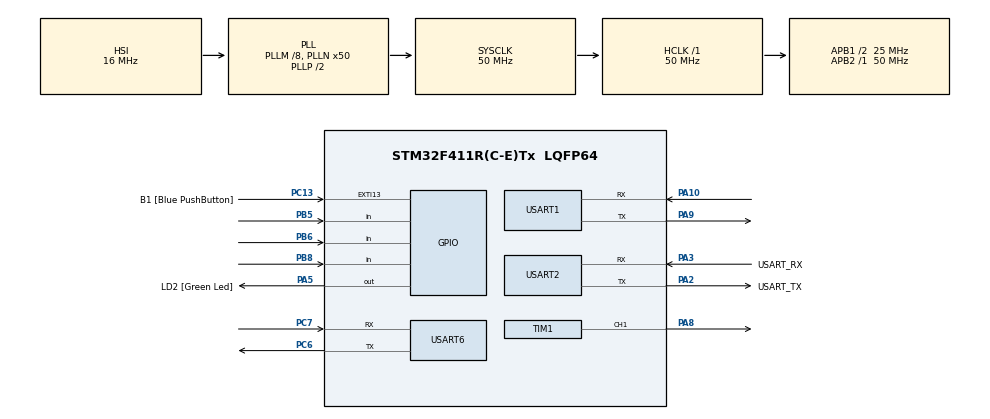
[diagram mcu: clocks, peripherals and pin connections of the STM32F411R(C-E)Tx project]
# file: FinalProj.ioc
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FREERTOS.Tasks01=defaultTask,15,128,StartDefaultTask,Default,NULL,Dynamic,NULL,NULL;myTask02,47,128,StartTask02,Default,NULL,Dynamic,NULL,NULL;myTask03,39,128,StartTask03,Default,NULL,Dynamic,NULL,NULL;myTask04,46,128,StartTask04,Default,NULL,Dynamic,NULL,NULL
Mcu.Family=STM32F4
Mcu.Name=STM32F411R(C-E)Tx
Mcu.Package=LQFP64
NVIC.PriorityGroup=NVIC_PRIORITYGROUP_4
NVIC.USART1_IRQn=true\:5\:0\:false\:false\:true\:true\:true\:true\:true
NVIC.USART6_IRQn=true\:5\:0\:false\:false\:true\:true\:true\:true\:true
PA10.Mode=Asynchronous
PA10.Signal=USART1_RX
PA13.GPIO_Label=TMS
PA13.Mode=Serial_Wire
PA13.Signal=SYS_JTMS-SWDIO
PA14.GPIO_Label=TCK
PA14.Mode=Serial_Wire
PA14.Signal=SYS_JTCK-SWCLK
PA2.GPIO_Label=USART_TX
PA2.Mode=Asynchronous
PA2.Signal=USART2_TX
PA3.GPIO_Label=USART_RX
PA3.Mode=Asynchronous
PA3.Signal=USART2_RX
PA5.GPIO_Label=LD2 [Green Led]
PA5.Signal=GPIO_Output
PA8.Signal=S_TIM1_CH1
PA9.Mode=Asynchronous
PA9.Signal=USART1_TX
PB3.GPIO_Label=SWO
PB3.Signal=SYS_JTDO-SWO
PB5.GPIO_PuPd=GPIO_PULLDOWN
PB5.Signal=GPIO_Input
PB6.Signal=GPIO_Input
PB8.Signal=GPIO_Input
PC13-ANTI_TAMP.GPIO_Label=B1 [Blue PushButton]
PC13-ANTI_TAMP.GPIO_ModeDefaultEXTI=GPIO_MODE_IT_FALLING
PC13-ANTI_TAMP.Signal=GPXTI13
PC14-OSC32_IN.Mode=LSE-External-Oscillator
PC14-OSC32_IN.Signal=RCC_OSC32_IN
PC15-OSC32_OUT.Mode=LSE-External-Oscillator
PC15-OSC32_OUT.Signal=RCC_OSC32_OUT
PC6.Mode=Asynchronous
PC6.Signal=USART6_TX
PC7.Mode=Asynchronous
PC7.Signal=USART6_RX
PH0\ -\ OSC_IN.Mode=HSE-External-Oscillator
PH0\ -\ OSC_IN.Signal=RCC_OSC_IN
PH1\ -\ OSC_OUT.Mode=HSE-External-Oscillator
PH1\ -\ OSC_OUT.Signal=RCC_OSC_OUT
ProjectManager.HeapSize=0x200
ProjectManager.StackSize=0x400
ProjectManager.TargetToolchain=STM32CubeIDE
RCC.48MHZClocksFreq_Value=25000000
RCC.AHBFreq_Value=50000000
RCC.APB1CLKDivider=RCC_HCLK_DIV2
RCC.APB1Freq_Value=25000000
RCC.APB1TimFreq_Value=50000000
RCC.APB2Freq_Value=50000000
RCC.APB2TimFreq_Value=50000000
RCC.CortexFreq_Value=50000000
RCC.FLatency-AdvancedSettings=FLASH_LATENCY_1
RCC.HCLKFreq_Value=50000000
RCC.HSE_VALUE=8000000
RCC.HSI_VALUE=16000000
RCC.PLLM=8
RCC.PLLN=50
RCC.SYSCLKFreq_VALUE=50000000
RCC.SYSCLKSource=RCC_SYSCLKSOURCE_PLLCLK
RCC.VCOOutputFreq_Value=100000000
SH.S_TIM1_CH1.0=TIM1_CH1,PWM Generation1 CH1
TIM1.Channel-PWM\ Generation1\ CH1=TIM_CHANNEL_1
TIM1.Period=99
TIM1.Prescaler=49
TIM3.Period=99
TIM3.Prescaler=49
USART1.VirtualMode=VM_ASYNC
USART2.VirtualMode=VM_ASYNC
USART6.VirtualMode=VM_ASYNC
VP_FREERTOS_VS_CMSIS_V2.Mode=CMSIS_V2
VP_TIM3_VS_ClockSourceINT.Mode=Internal
board=NUCLEO-F411RE

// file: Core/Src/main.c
/* USER CODE BEGIN Header */
/**
  ******************************************************************************
  * @file           : main.c
  * @brief          : Main program body
  ******************************************************************************
  * @attention
  *
  * Copyright (c) 2023 STMicroelectronics.
  * All rights reserved.
  *
  * This software is licensed under terms that can be found in the LICENSE file
  * in the root directory of this software component.
  * If no LICENSE file comes with this software, it is provided AS-IS.
  *
  ******************************************************************************
  */
/* USER CODE END Header */
#include "main.h"
#include "cmsis_os.h"

/* USER CODE BEGIN PD */
#define DHT22_PORT GPIOB
#define DHT22_PIN GPIO_PIN_8

#define HC_SRO4_PORT GPIOB
#define HC_SRO4_PIN GPIO_PIN_6

#define WF_PORT GPIOB
#define WF_PIN GPIO_PIN_5
/* USER CODE END PD */

TIM_HandleTypeDef htim1;
TIM_HandleTypeDef htim3;

UART_HandleTypeDef huart1;
UART_HandleTypeDef huart2;
UART_HandleTypeDef huart6;

/* Definitions for defaultTask */
osThreadId_t defaultTaskHandle;
const osThreadAttr_t defaultTask_attributes = {
  .name = "defaultTask",
  .stack_size = 128 * 4,
  .priority = (osPriority_t) osPriorityLow7,
};
/* Definitions for myTask02 */
osThreadId_t myTask02Handle;
const osThreadAttr_t myTask02_attributes = {
  .name = "myTask02",
  .stack_size = 128 * 4,
  .priority = (osPriority_t) osPriorityHigh7,
};
/* Definitions for myTask03 */
osThreadId_t myTask03Handle;
const osThreadAttr_t myTask03_attributes = {
  .name = "myTask03",
  .stack_size = 128 * 4,
  .priority = (osPriority_t) osPriorityAboveNormal7,
};
/* Definitions for myTask04 */
osThreadId_t myTask04Handle;
const osThreadAttr_t myTask04_attributes = {
  .name = "myTask04",
  .stack_size = 128 * 4,
  .priority = (osPriority_t) osPriorityHigh6,
};

void SystemClock_Config(void);
static void MX_GPIO_Init(void);
static void MX_USART2_UART_Init(void);
static void MX_TIM1_Init(void);
static void MX_TIM3_Init(void);
static void MX_USART1_UART_Init(void);
static void MX_USART6_UART_Init(void);
void StartDefaultTask(void *argument);
void StartTask02(void *argument);
void StartTask03(void *argument);
void StartTask04(void *argument);

/* USER CODE BEGIN 0 */

void HAL_UART_TxCpltCallback(UART_HandleTypeDef *huart){

}

void delay(uint16_t Delay){ // will delay = Delay * 1 micro second (Delay should not exceed 2^16 - 1)
    __HAL_TIM_SET_COUNTER(&htim3,0);  // set the counter value a 0
    while ((uint16_t)__HAL_TIM_GET_COUNTER(&htim3) < Delay);// wait for the counter to reach the us input in the parameter
}

uint8_t Rh_byte1, Rh_byte2, Temp_byte1, Temp_byte2, SUM;
uint16_t RH, TEMP;

float Temp = 0,Humi = 0;
uint8_t Presence = 0;

void Set_Pin_Output (GPIO_TypeDef *GPIOx, uint16_t GPIO_Pin){
	GPIO_InitTypeDef GPIO_InitStruct = {0};
	GPIO_InitStruct.Pin = GPIO_Pin;
	GPIO_InitStruct.Mode = GPIO_MODE_OUTPUT_PP;
	GPIO_InitStruct.Speed = GPIO_SPEED_FREQ_LOW;
	HAL_GPIO_Init(GPIOx, &GPIO_InitStruct);
}

void Set_Pin_Input (GPIO_TypeDef *GPIOx, uint16_t GPIO_Pin){
	GPIO_InitTypeDef GPIO_InitStruct = {0};
	GPIO_InitStruct.Pin = GPIO_Pin;
	GPIO_InitStruct.Mode = GPIO_MODE_INPUT;
	GPIO_InitStruct.Pull = GPIO_PULLUP;
	HAL_GPIO_Init(GPIOx, &GPIO_InitStruct);
}

void DHT22_Start (void)
{
	Set_Pin_Output(DHT22_PORT, DHT22_PIN); // set the pin as output
	HAL_GPIO_WritePin (DHT22_PORT, DHT22_PIN, 0);   // pull the pin low
	HAL_Delay(1200);   // wait for > 1ms

	HAL_GPIO_WritePin (DHT22_PORT, DHT22_PIN, 1);   // pull the pin high
	delay (20);   // wait for 30us
	HAL_GPIO_WritePin (DHT22_PORT, DHT22_PIN, 0);   // pull the pin high

	Set_Pin_Input(DHT22_PORT, DHT22_PIN);   // set as input
}
uint8_t DHT22_Check_Response (void)
{
	Set_Pin_Input(DHT22_PORT, DHT22_PIN);   // set as input
	uint8_t Response = 0;
	delay (40);  // wait for 40us
	if (!(HAL_GPIO_ReadPin (DHT22_PORT, DHT22_PIN))) // if the pin is low
	{
		delay (80);   // wait for 80us

		if ((HAL_GPIO_ReadPin (DHT22_PORT, DHT22_PIN))) Response = 1;  // if the pin is high, response is ok
		else Response = -1;
	}

	while ((HAL_GPIO_ReadPin (DHT22_PORT, DHT22_PIN)));// wait for the pin to go low
	return Response;
}
uint8_t DHT22_Read (void)
{
	uint8_t i=0,j;
	for (j=0;j<8;j++)
	{
		while (!(HAL_GPIO_ReadPin (DHT22_PORT, DHT22_PIN))){
			delay(1); // wait for the pin to go high
		}
		delay (40);   // wait for 40 us
		//HAL_GPIO_TogglePin(GPIOC, GPIO_PIN_9);
		if (!(HAL_GPIO_ReadPin (DHT22_PORT, DHT22_PIN)))   // if the pin is low
		{
			i&= ~(1<<(7-j));   // write 0
		}
		else i|= (1<<(7-j));  // if the pin is high, write 1
		while ((HAL_GPIO_ReadPin (DHT22_PORT, DHT22_PIN))){
			delay(1);  // wait for the pin to go low
		}
	}

	return i;
}

// delay
int mainUltra = 0;
int mainTemp = 0;
int mainfloat = 0;

int Delay_Array[3];
//

int u0=0;
int u1=0;
int u2=0;

int mainState;

int isTemp = 0;
int isFloat= 0;
int isUltra = 0;

int isTempTran = 0;
int isLevelTran = 0;

/* USER CODE END 0 */

int main(void)
{

  /* MCU Configuration--------------------------------------------------------*/

  /* Reset of all peripherals, Initializes the Flash interface and the Systick. */
  HAL_Init();

  /* Configure the system clock */
  SystemClock_Config();

  /* Initialize all configured peripherals */
  MX_GPIO_Init();
  MX_USART2_UART_Init();
  MX_TIM1_Init();
  MX_TIM3_Init();
  MX_USART1_UART_Init();
  MX_USART6_UART_Init();

  /* Init scheduler */
  osKernelInitialize();

  /* Create the thread(s) */
  /* creation of defaultTask */
  defaultTaskHandle = osThreadNew(StartDefaultTask, NULL, &defaultTask_attributes);

  /* creation of myTask02 */
  myTask02Handle = osThreadNew(StartTask02, NULL, &myTask02_attributes);

  /* creation of myTask03 */
  myTask03Handle = osThreadNew(StartTask03, NULL, &myTask03_attributes);

  /* creation of myTask04 */
  myTask04Handle = osThreadNew(StartTask04, NULL, &myTask04_attributes);

  /* Start scheduler */
  osKernelStart();
  /* We should never get here as control is now taken by the scheduler */
  /* Infinite loop */
  /* USER CODE BEGIN WHILE */
  while (1)
  {

//	  if(isUltra == 1) {
//		  uint8_t pData_main[7] = {' ',' ',' ',' ',' ',' ',' '};
//		  sprintf(pData_main, "%d\r\n", mainUltra);
//		  HAL_UART_Transmit_IT(&huart1, &pData_main, 7);
//
//	  }

	  /*if(isTemp == 1 && mainTemp != 0 && isUltra ==1) {
		uint8_t T_main[3];
		T_main[0] = '0' + mainTemp/100;
		T_main[1] = '0' + (mainTemp%100)/10;
		T_main[2] = '0' + (mainTemp%10);

		  uint8_t pData_main[7] = {' ',' ',' ',' ',' ',' ',' '};
		  sprintf(pData_main, "%d\r\n", mainUltra);
		  //HAL_UART_Transmit_IT(&huart1, &pData_main, 7);

		  uint8_t arr[10];
		  int id = 0;
		  for(int i=0; i<3; i++){
			  arr[id++] = T_main[i];
		  }
		  for(int i=0; i<8; i++){
			  arr[id++] = pData_main[i];
		  }

		  HAL_UART_Transmit_IT(&huart1, &arr, 10);
	  }*/

	 // uint8_t arr

    /* USER CODE END WHILE */

  }
}

void SystemClock_Config(void)
{
  RCC_OscInitTypeDef RCC_OscInitStruct = {0};
  RCC_ClkInitTypeDef RCC_ClkInitStruct = {0};

  /** Configure the main internal regulator output voltage
  */
  __HAL_RCC_PWR_CLK_ENABLE();
  __HAL_PWR_VOLTAGESCALING_CONFIG(PWR_REGULATOR_VOLTAGE_SCALE1);

  /** Initializes the RCC Oscillators according to the specified parameters
  * in the RCC_OscInitTypeDef structure.
  */
  RCC_OscInitStruct.OscillatorType = RCC_OSCILLATORTYPE_HSI;
  RCC_OscInitStruct.HSIState = RCC_HSI_ON;
  RCC_OscInitStruct.HSICalibrationValue = RCC_HSICALIBRATION_DEFAULT;
  RCC_OscInitStruct.PLL.PLLState = RCC_PLL_ON;
  RCC_OscInitStruct.PLL.PLLSource = RCC_PLLSOURCE_HSI;
  RCC_OscInitStruct.PLL.PLLM = 8;
  RCC_OscInitStruct.PLL.PLLN = 50;
  RCC_OscInitStruct.PLL.PLLP = RCC_PLLP_DIV2;
  RCC_OscInitStruct.PLL.PLLQ = 4;
  if (HAL_RCC_OscConfig(&RCC_OscInitStruct) != HAL_OK)
  {
    Error_Handler();
  }

  /** Initializes the CPU, AHB and APB buses clocks
  */
  RCC_ClkInitStruct.ClockType = RCC_CLOCKTYPE_HCLK|RCC_CLOCKTYPE_SYSCLK
                              |RCC_CLOCKTYPE_PCLK1|RCC_CLOCKTYPE_PCLK2;
  RCC_ClkInitStruct.SYSCLKSource = RCC_SYSCLKSOURCE_PLLCLK;
  RCC_ClkInitStruct.AHBCLKDivider = RCC_SYSCLK_DIV1;
  RCC_ClkInitStruct.APB1CLKDivider = RCC_HCLK_DIV2;
  RCC_ClkInitStruct.APB2CLKDivider = RCC_HCLK_DIV1;

  if (HAL_RCC_ClockConfig(&RCC_ClkInitStruct, FLASH_LATENCY_1) != HAL_OK)
  {
    Error_Handler();
  }
}

static void MX_TIM1_Init(void)
{

  TIM_MasterConfigTypeDef sMasterConfig = {0};
  TIM_OC_InitTypeDef sConfigOC = {0};
  TIM_BreakDeadTimeConfigTypeDef sBreakDeadTimeConfig = {0};

  htim1.Instance = TIM1;
  htim1.Init.Prescaler = 49;
  htim1.Init.CounterMode = TIM_COUNTERMODE_UP;
  htim1.Init.Period = 99;
  htim1.Init.ClockDivision = TIM_CLOCKDIVISION_DIV1;
  htim1.Init.RepetitionCounter = 0;
  htim1.Init.AutoReloadPreload = TIM_AUTORELOAD_PRELOAD_DISABLE;
  if (HAL_TIM_PWM_Init(&htim1) != HAL_OK)
  {
    Error_Handler();
  }
  sMasterConfig.MasterOutputTrigger = TIM_TRGO_RESET;
  sMasterConfig.MasterSlaveMode = TIM_MASTERSLAVEMODE_DISABLE;
  if (HAL_TIMEx_MasterConfigSynchronization(&htim1, &sMasterConfig) != HAL_OK)
  {
    Error_Handler();
  }
  sConfigOC.OCMode = TIM_OCMODE_PWM1;
  sConfigOC.Pulse = 0;
  sConfigOC.OCPolarity = TIM_OCPOLARITY_HIGH;
  sConfigOC.OCNPolarity = TIM_OCNPOLARITY_HIGH;
  sConfigOC.OCFastMode = TIM_OCFAST_DISABLE;
  sConfigOC.OCIdleState = TIM_OCIDLESTATE_RESET;
  sConfigOC.OCNIdleState = TIM_OCNIDLESTATE_RESET;
  if (HAL_TIM_PWM_ConfigChannel(&htim1, &sConfigOC, TIM_CHANNEL_1) != HAL_OK)
  {
    Error_Handler();
  }
  sBreakDeadTimeConfig.OffStateRunMode = TIM_OSSR_DISABLE;
  sBreakDeadTimeConfig.OffStateIDLEMode = TIM_OSSI_DISABLE;
  sBreakDeadTimeConfig.LockLevel = TIM_LOCKLEVEL_OFF;
  sBreakDeadTimeConfig.DeadTime = 0;
  sBreakDeadTimeConfig.BreakState = TIM_BREAK_DISABLE;
  sBreakDeadTimeConfig.BreakPolarity = TIM_BREAKPOLARITY_HIGH;
  sBreakDeadTimeConfig.AutomaticOutput = TIM_AUTOMATICOUTPUT_DISABLE;
  if (HAL_TIMEx_ConfigBreakDeadTime(&htim1, &sBreakDeadTimeConfig) != HAL_OK)
  {
    Error_Handler();
  }
  HAL_TIM_MspPostInit(&htim1);

}

static void MX_TIM3_Init(void)
{

  TIM_ClockConfigTypeDef sClockSourceConfig = {0};
  TIM_MasterConfigTypeDef sMasterConfig = {0};

  htim3.Instance = TIM3;
  htim3.Init.Prescaler = 49;
  htim3.Init.CounterMode = TIM_COUNTERMODE_UP;
  htim3.Init.Period = 99;
  htim3.Init.ClockDivision = TIM_CLOCKDIVISION_DIV1;
  htim3.Init.AutoReloadPreload = TIM_AUTORELOAD_PRELOAD_DISABLE;
  if (HAL_TIM_Base_Init(&htim3) != HAL_OK)
  {
    Error_Handler();
  }
  sClockSourceConfig.ClockSource = TIM_CLOCKSOURCE_INTERNAL;
  if (HAL_TIM_ConfigClockSource(&htim3, &sClockSourceConfig) != HAL_OK)
  {
    Error_Handler();
  }
  sMasterConfig.MasterOutputTrigger = TIM_TRGO_RESET;
  sMasterConfig.MasterSlaveMode = TIM_MASTERSLAVEMODE_DISABLE;
  if (HAL_TIMEx_MasterConfigSynchronization(&htim3, &sMasterConfig) != HAL_OK)
  {
    Error_Handler();
  }

}

static void MX_USART1_UART_Init(void)
{

  huart1.Instance = USART1;
  huart1.Init.BaudRate = 115200;
  huart1.Init.WordLength = UART_WORDLENGTH_8B;
  huart1.Init.StopBits = UART_STOPBITS_1;
  huart1.Init.Parity = UART_PARITY_NONE;
  huart1.Init.Mode = UART_MODE_TX_RX;
  huart1.Init.HwFlowCtl = UART_HWCONTROL_NONE;
  huart1.Init.OverSampling = UART_OVERSAMPLING_16;
  if (HAL_UART_Init(&huart1) != HAL_OK)
  {
    Error_Handler();
  }

}

static void MX_USART2_UART_Init(void)
{

  huart2.Instance = USART2;
  huart2.Init.BaudRate = 115200;
  huart2.Init.WordLength = UART_WORDLENGTH_8B;
  huart2.Init.StopBits = UART_STOPBITS_1;
  huart2.Init.Parity = UART_PARITY_NONE;
  huart2.Init.Mode = UART_MODE_TX_RX;
  huart2.Init.HwFlowCtl = UART_HWCONTROL_NONE;
  huart2.Init.OverSampling = UART_OVERSAMPLING_16;
  if (HAL_UART_Init(&huart2) != HAL_OK)
  {
    Error_Handler();
  }

}

static void MX_USART6_UART_Init(void)
{

  huart6.Instance = USART6;
  huart6.Init.BaudRate = 115200;
  huart6.Init.WordLength = UART_WORDLENGTH_8B;
  huart6.Init.StopBits = UART_STOPBITS_1;
  huart6.Init.Parity = UART_PARITY_NONE;
  huart6.Init.Mode = UART_MODE_TX_RX;
  huart6.Init.HwFlowCtl = UART_HWCONTROL_NONE;
  huart6.Init.OverSampling = UART_OVERSAMPLING_16;
  if (HAL_UART_Init(&huart6) != HAL_OK)
  {
    Error_Handler();
  }

}

static void MX_GPIO_Init(void)
{
  GPIO_InitTypeDef GPIO_InitStruct = {0};

  /* GPIO Ports Clock Enable */
  __HAL_RCC_GPIOC_CLK_ENABLE();
  __HAL_RCC_GPIOH_CLK_ENABLE();
  __HAL_RCC_GPIOA_CLK_ENABLE();
  __HAL_RCC_GPIOB_CLK_ENABLE();

  /*Configure GPIO pin Output Level */
  HAL_GPIO_WritePin(LD2_GPIO_Port, LD2_Pin, GPIO_PIN_RESET);

  /*Configure GPIO pin : B1_Pin */
  GPIO_InitStruct.Pin = B1_Pin;
  GPIO_InitStruct.Mode = GPIO_MODE_IT_FALLING;
  GPIO_InitStruct.Pull = GPIO_NOPULL;
  HAL_GPIO_Init(B1_GPIO_Port, &GPIO_InitStruct);

  /*Configure GPIO pin : LD2_Pin */
  GPIO_InitStruct.Pin = LD2_Pin;
  GPIO_InitStruct.Mode = GPIO_MODE_OUTPUT_PP;
  GPIO_InitStruct.Pull = GPIO_NOPULL;
  GPIO_InitStruct.Speed = GPIO_SPEED_FREQ_LOW;
  HAL_GPIO_Init(LD2_GPIO_Port, &GPIO_InitStruct);

  /*Configure GPIO pin : PB5 */
  GPIO_InitStruct.Pin = GPIO_PIN_5;
  GPIO_InitStruct.Mode = GPIO_MODE_INPUT;
  GPIO_InitStruct.Pull = GPIO_PULLDOWN;
  HAL_GPIO_Init(GPIOB, &GPIO_InitStruct);

  /*Configure GPIO pins : PB6 PB8 */
  GPIO_InitStruct.Pin = GPIO_PIN_6|GPIO_PIN_8;
  GPIO_InitStruct.Mode = GPIO_MODE_INPUT;
  GPIO_InitStruct.Pull = GPIO_NOPULL;
  HAL_GPIO_Init(GPIOB, &GPIO_InitStruct);

}

void StartDefaultTask(void *argument)
{
  /* USER CODE BEGIN 5 */
  /* Infinite loop */
  for(;;)
  {
	  /*if(isTemp == 1 && mainTemp != 0 && isUltra ==1) {
		uint8_t T_main[3];
		T_main[0] = '0' + mainTemp/100;
		T_main[1] = '0' + (mainTemp%100)/10;
		T_main[2] = '0' + (mainTemp%10);

		  uint8_t pData_main[7] = {' ',' ',' ',' ',' ',' ',' '};
		  sprintf(pData_main, "%d\r\n", mainUltra);
		  //HAL_UART_Transmit_IT(&huart1, &pData_main, 7);

		  uint8_t arr[10];
		  int id = 0;
		  for(int i=0; i<3; i++){
			  arr[id++] = T_main[i];
		  }
		  for(int i=0; i<8; i++){
			  arr[id++] = pData_main[i];
		  }

		  HAL_UART_Transmit_IT(&huart1, &arr, 10);
	  }*/

    osDelay(1);
  }
  /* USER CODE END 5 */
}

void StartTask02(void *argument)
{
  /* USER CODE BEGIN StartTask02 */
	HAL_TIM_Base_Start(&htim3);
			uint8_t T[3],H[3],Check;
			uint16_t Tsum, Hsum;
  /* Infinite loop */
  for(;;)
  {
	  isTemp = 1;
	 // taskENTER_CRITICAL();
	  	  HAL_UART_Transmit(&huart2, "Do\r\n", 4, 10);
	  	  DHT22_Start();
	  	  Presence = DHT22_Check_Response();
	  	  Rh_byte1 = DHT22_Read();
	  	  Rh_byte2 = DHT22_Read();

	  	  Temp_byte1 = DHT22_Read();
	  	  Temp_byte2 = DHT22_Read();

	  	  SUM = DHT22_Read();
	  	  Check = Rh_byte1 + Rh_byte2 + Temp_byte1 + Temp_byte2;
	  	  //HAL_UART_Transmit(&huart2, SUM, sizeof(SUM), HAL_MAX_DELAY);

	  	TEMP = ((Temp_byte1<<8)|Temp_byte2)&32767;
	  	//RH = ((Rh_byte1<<8)|Rh_byte2)&32767;

	  	  Temp = (float)(TEMP/10.0);
	  		 	  //Humi = (float)(RH/10.0);

	  		 	 /* Hsum = Rh_byte1*256 + Rh_byte2;

	  		 	H[0] = '0' + Hsum/100;
	  		    H[1] = '0' + (Hsum%100)/10;
	  		 	H[2] = '0' + (Hsum%10);*/

	  		 	/*HAL_UART_Transmit(&huart2, "Humid: ", 7, HAL_MAX_DELAY);
	  		 	HAL_UART_Transmit(&huart2, H, 3, 10);*/

	  		 	//HAL_UART_Transmit(&huart2, "\r\n", 2, 10);

	  		 		 	  if(Check == SUM){
	  		 		 		  if(Temp_byte1>127) {Tsum = (float)Temp_byte2/10*(-1);}
	  		 		 		  else {Tsum = (float)((Temp_byte1<<8) | Temp_byte2)/10;}

	  		 		 		T[0] = '0' + Tsum/100;
	  		 		 		T[1] = '0' + (Tsum%100)/10;
	  		 		 		T[2] = '0' + (Tsum%10);

	  		 		 	// HUART 1-----------------

	  		 		 		//isTempTran = 0;
							HAL_UART_Transmit(&huart1, T, 3, HAL_MAX_DELAY);
							HAL_UART_Transmit(&huart1, "\r\n", 2, HAL_MAX_DELAY);
							//isTempTran = 1;

							HAL_UART_Transmit(&huart2, "Temp: ", 6, HAL_MAX_DELAY);
	  		 		 		HAL_UART_Transmit(&huart2, T, 3, 10);

	  		 		 		HAL_UART_Transmit(&huart2, "\r\n", 2, 10);

	  		 		 		  HAL_UART_Transmit(&huart2, "Good\r\n", 6, 10);

	  		 		 		  mainTemp = Tsum;

	  		 		 		  //	  HAL_GPIO_WritePin(GPIOA, GPIO_PIN_5,sensorState);

	  		 		 		  //HAL_GPIO_WritePin(GPIOA, GPIO_PIN_0, SET);
	  		 		 	  }else{
	  		 		 		  HAL_UART_Transmit(&huart2, "Bad\r\n", 5, 10);
	  		 		 	  }
	  		  		 	HAL_UART_Transmit(&huart2, "\r\n", 2, 10);

	  		  		  osDelay(500);

	  	}

  /* USER CODE END StartTask02 */
}

void StartTask03(void *argument)
{
  /* USER CODE BEGIN StartTask03 */
  /* Infinite loop */
  for(;;)
  {
	  isFloat = 1;
	  //HAL_UART_Transmit(&huart2, "3\r\n", 3, 10);
	  uint8_t sensorState = HAL_GPIO_ReadPin(WF_PORT, WF_PIN);
	  HAL_GPIO_WritePin(GPIOA, GPIO_PIN_5,sensorState);
	  HAL_GPIO_WritePin(GPIOA, GPIO_PIN_0,sensorState);

	  mainfloat = sensorState;

    osDelay(1);
  }
  /* USER CODE END StartTask03 */
}

void StartTask04(void *argument)
{
  /* USER CODE BEGIN StartTask04 */
	//taskENTER_CRITICAL();
	isUltra = 1;
	int hit = 0;
	int miss_count = 0;
	uint8_t state = 0;
	int delay;
	int echo=1;
	int id=0;
	int countultra = 0;
	int div = 50;
	uint8_t arr[div];

	int ultmp[3];

	HAL_TIM_PWM_Start(&htim1, TIM_CHANNEL_1);

	TIM1->CCR1 = 20;
  /* Infinite loop */
  for(;;)
  {
	//HAL_UART_Transmit(&huart2, "4\r\n", 3, 10);
	uint8_t test = "TEST\r\n";
	delay = 1000001;
	echo =  HAL_GPIO_ReadPin(HC_SRO4_PORT,HC_SRO4_PIN);

	if (echo) {
		delay = 0;
		while ( HAL_GPIO_ReadPin(HC_SRO4_PORT,HC_SRO4_PIN)) {
			delay++;
		}
	}

	if (delay < 1000001) {

		if (delay < 1000) {
			hit++;
			miss_count = 0;
		} else {
			if (miss_count++ > 100) { hit = 0; }
		 }

		if (hit > 100) {
			if (state == 0) {
				//HAL_GPIO_WritePin(GPIOA, GPIO_PIN_5, 1);
				state = 1;
			}
		} else {
			if (state == 1) {
				//HAL_GPIO_WritePin(GPIOA, GPIO_PIN_5, 0);

				state = 0;
			}
		}

		uint8_t pData[7] = {' ',' ',' ',' ',' ',' ',' '};

			if(countultra<div){
				arr[id] = delay;
				id = (id+1)%div;
				countultra++;
			}
			else{
				arr[id] = delay;
				id = (id+1)%div;

				delay = 0;

				for(int i=0; i<div; i++){
					delay += arr[i];
				}

				delay = delay/div;

				if(mainfloat == 1 && delay <= 120){
					sprintf(pData, "%d", delay);

				HAL_UART_Transmit(&huart1, &pData, 7, HAL_MAX_DELAY);
				HAL_UART_Transmit(&huart1, "\r\n", 2, HAL_MAX_DELAY);

				HAL_UART_Transmit(&huart2, "Ultra: ", 7, HAL_MAX_DELAY);
				HAL_UART_Transmit(&huart2, &pData, 7,HAL_MAX_DELAY);
				HAL_UART_Transmit(&huart2, "\r\n", 2, 10);

				}else {
					HAL_UART_Transmit(&huart2, "noooo: ", 7, HAL_MAX_DELAY);
					HAL_UART_Transmit(&huart2, "\r\n", 2, 10);

				}

			}

			//HAL_UART_Transmit(&huart2, "ABCTg: ", 7, HAL_MAX_DELAY);

	}

	osDelay(10);
  }
  /* USER CODE END StartTask04 */
}

void Error_Handler(void)
{
  __disable_irq();
  while (1)
  {
  }
}
